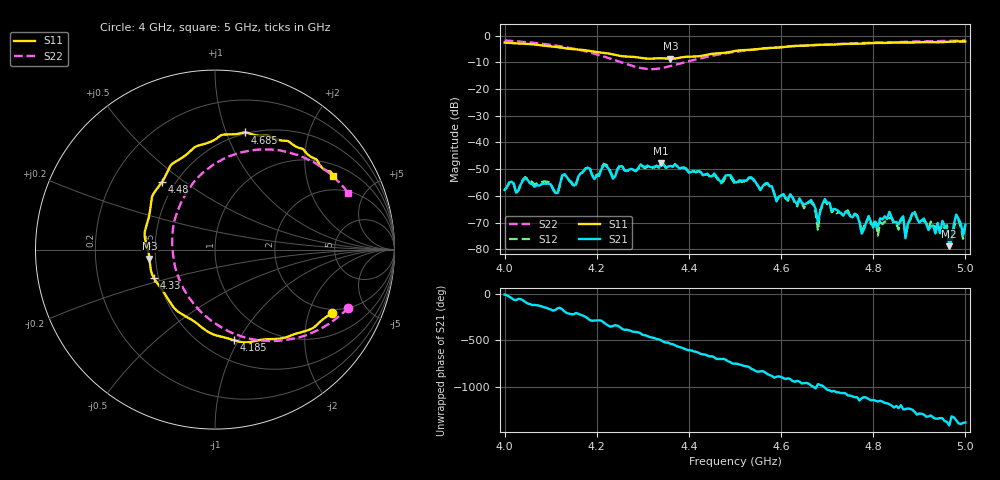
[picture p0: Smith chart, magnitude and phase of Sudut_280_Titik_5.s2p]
# Hz S RI R 50
! CMT, C1220, 16058040, 17.2.0/1
! Date: 15/08/2018 12:23:13
! Data: Format (Calibration Info)
! Freq  S11: Re/Im (F2)  S21: Re/Im (F2)  S12: Re/Im (F2)  S22: Re/Im (F2)
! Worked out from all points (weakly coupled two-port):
!   201 points, 4 GHz to 5 GHz, reference 50 ohm
!   highest |S21| = -47.88 dB at 4.34 GHz (marker M1); lowest = -78.8 dB at 4.965 GHz (marker M2)
!   lowest |S11| = -8.7 dB at 4.36 GHz (marker M3), VSWR 2.17, Z = 23.2 - j2.74 ohm
!   |S11| at or under -10 dB: nowhere
!   |S22| runs from -12.6 to -1.8 dB; largest |S21 - S12| = 0.00025
!   S11 on the Smith chart (normalised r, x): 4 GHz: 1.82, -2.85; 4.185 GHz: 0.70, -0.96; 4.33 GHz: 0.47, -0.18; 4.48 GHz: 0.42, +0.41; 4.685 GHz: 0.49, +1.17; 5 GHz: 1.40, +2.87
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4e9  0.6495 -0.3548  0.00127 -0.000217  0.00129 -0.000164  0.7431 -0.3237
4.17e9  0.1512 -0.5157  -0.00159 0.00232  -0.00166 0.00222  0.1735 -0.4914
4.185e9  0.1054 -0.5051  0.000767 0.00315  0.000585 0.00326  0.1112 -0.4701
4.33e9  -0.3393 -0.1603  -0.00222 -0.00294  -0.00214 -0.00283  -0.2379 0.0198
4.335e9  -0.347 -0.1456  -0.00229 -0.0026  -0.0022 -0.00253  -0.2384 0.0407
4.34e9  -0.3534 -0.1302  -0.00316 -0.0025  -0.00307 -0.00251  -0.2381 0.0612
4.36e9  -0.3649 -0.0511  -0.00364 -1.42e-05  -0.00364 -9.43e-05  -0.2299 0.1399
4.48e9  -0.2949 0.3773  0.00237 0.000458  0.00222 0.000398  -0.0181 0.4666
4.5e9  -0.2593 0.4449  0.00151 -0.000952  0.00143 -0.000865  0.0282 0.4951
4.67e9  0.1417 0.6478  0.000115 0.000701  0.000113 0.000658  0.3743 0.5498
4.68e9  0.1601 0.6518  -0.000104 0.000302  -5.76e-05 0.000216  0.3918 0.5455
4.685e9  0.1683 0.6524  -8.27e-05 0.000512  -9.77e-05 0.000529  0.3995 0.5435
4.76e9  0.3255 0.6223  0.000384 -0.000233  0.00041 -0.00022  0.5089 0.5068
4.775e9  0.3617 0.6094  0.000146 -0.000132  0.000164 -0.000107  0.5286 0.4962
4.835e9  0.4584 0.5702  -0.000148 -0.000481  -9.12e-05 -0.000374  0.5989 0.4547
4.865e9  0.4962 0.5539  -0.000393 -0.000132  -0.000352 -0.000141  0.6307 0.4318
4.87e9  0.5009 0.548  -0.000151 -5.43e-05  -0.000143 -0.000104  0.6351 0.4276
4.89e9  0.5313 0.519  -0.000461 7.26e-05  -0.0005 4.4e-05  0.6546 0.4109
4.95e9  0.6058 0.4482  -8e-05 0.00033  -4.53e-05 0.000262  0.706 0.3583
4.965e9  0.6324 0.4364  0.000103 4.88e-05  9.98e-05 8.07e-05  0.7179 0.3463
4.98e9  0.645 0.4344  6.59e-05 0.000441  2.74e-05 0.000348  0.7278 0.3319
5e9  0.6568 0.4109  0.00016 0.000243  0.000144 0.000253  0.7435 0.3126
